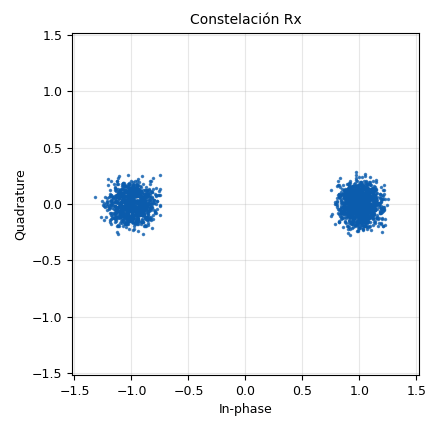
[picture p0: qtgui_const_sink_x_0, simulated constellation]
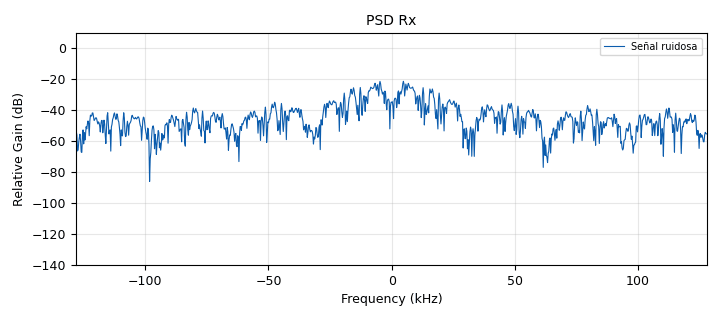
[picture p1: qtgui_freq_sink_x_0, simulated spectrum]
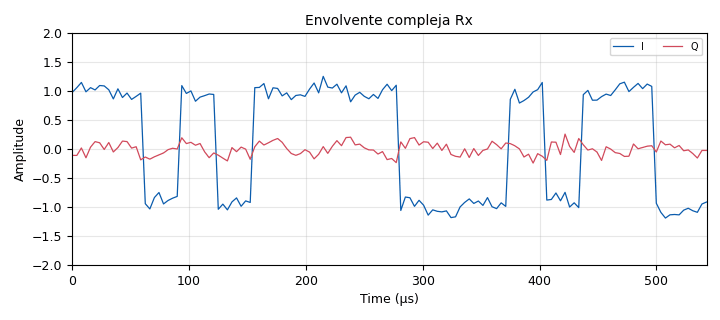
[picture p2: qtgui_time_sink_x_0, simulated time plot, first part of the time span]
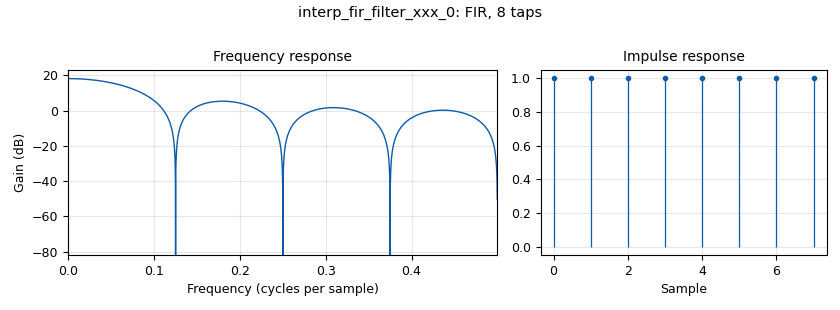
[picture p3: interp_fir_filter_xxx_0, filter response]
options:
  parameters:
    comment: GRC para analizar ruido AWGN en modulaciones basadas en constelaciones
    description: GRC con AWGN para BPSK
    generate_options: qt_gui
    id: Modulaciones_basadas_en_constelaciones_AWGN
    output_language: python
    title: Enlace_Beta_Interferencia
  states: {}

blocks:
- name: A_noise
  id: variable_qtgui_range
  parameters:
    label: Amplitud de ruido AWGN
    min_len: '100'
    start: '0'
    step: '0.05'
    stop: '0.5'
    value: '0.10'
  states: {}
- name: F_noise
  id: variable
  parameters:
    value: '15000'
  states: {}
- name: M
  id: variable
  parameters:
    value: len(tabla_de_verdad_constelacion)
  states: {}
- name: Rb
  id: variable
  parameters:
    value: Rs*bps
  states: {}
- name: Rs
  id: variable
  parameters:
    value: '32000'
  states: {}
- name: Sps
  id: variable
  parameters:
    value: '8'
  states: {}
- name: bps
  id: variable
  parameters:
    value: int(math.log(M,2))
  states: {}
- name: h
  id: variable
  parameters:
    value: '[1]*Sps'
  states: {}
- name: samp_rate
  id: variable
  parameters:
    value: Rs*Sps
  states: {}
- name: tabla_de_verdad_constelacion
  id: variable
  parameters:
    comment: Cambie esta tabla para OOK ASK BPSK QPSK 8PSK o 16QAM
    value: (-1+0j, 1+0j)
  states: {}
- name: analog_noise_source_x_0
  id: analog_noise_source_x
  parameters:
    amp: '0.1'
    noise_type: analog.GR_GAUSSIAN
    seed: '0'
    type: complex
  states: {}
- name: analog_random_source_x_0
  id: analog_random_source_x
  parameters:
    max: '2'
    min: '0'
    num_samps: '1000'
    repeat: 'True'
    type: byte
  states: {}
- name: analog_sig_source_x_0
  id: analog_sig_source_x
  parameters:
    amp: A_noise
    freq: F_noise
    offset: '0'
    phase: '0'
    samp_rate: samp_rate
    type: complex
    waveform: analog.GR_COS_WAVE
  states: {}
- name: blocks_add_xx_0
  id: blocks_add_xx
  parameters:
    type: complex
  states: {}
- name: blocks_add_xx_1
  id: blocks_add_xx
  parameters:
    type: complex
  states: {}
- name: blocks_pack_k_bits_bb_0
  id: blocks_pack_k_bits_bb
  parameters:
    k: '8'
  states: {}
- name: blocks_packed_to_unpacked_xx_0
  id: blocks_packed_to_unpacked_xx
  parameters:
    bits_per_chunk: bps
    endianness: gr.GR_MSB_FIRST
    type: byte
  states: {}
- name: digital_chunks_to_symbols_xx_0
  id: digital_chunks_to_symbols_xx
  parameters:
    dimension: '1'
    in_type: byte
    out_type: complex
    symbol_table: tabla_de_verdad_constelacion
  states: {}
- name: import_0
  id: import
  parameters:
    imports: import math
  states: {}
- name: interp_fir_filter_xxx_0
  id: interp_fir_filter_xxx
  parameters:
    interp: Sps
    taps: h
    type: ccf
  states: {}
- name: qtgui_const_sink_x_0
  id: qtgui_const_sink_x
  parameters:
    autoscale: 'True'
    grid: 'True'
    label1: '"Señal ruidosa"'
    legend: 'False'
    name: '"Constelación Rx"'
    size: '2048'
    type: complex
  states: {}
- name: qtgui_freq_sink_x_0
  id: qtgui_freq_sink_x
  parameters:
    bw: samp_rate
    fc: '0'
    fftsize: '1024'
    grid: 'True'
    label1: Señal ruidosa
    name: '"PSD Rx"'
    type: complex
  states: {}
- name: qtgui_time_sink_x_0
  id: qtgui_time_sink_x
  parameters:
    grid: 'True'
    label1: I
    label2: Q
    name: '"Envolvente compleja Rx"'
    size: '2048'
    srate: samp_rate
    type: complex
    ymax: '2'
    ymin: '-2'
  states: {}
- name: throttle_0
  id: blocks_throttle2
  parameters:
    samples_per_second: samp_rate
    type: complex
  states: {}

connections:
- [analog_noise_source_x_0, '0', blocks_add_xx_0, '1']
- [analog_random_source_x_0, '0', blocks_pack_k_bits_bb_0, '0']
- [analog_sig_source_x_0, '0', blocks_add_xx_1, '1']
- [blocks_add_xx_0, '0', blocks_add_xx_1, '0']
- [blocks_add_xx_1, '0', qtgui_const_sink_x_0, '0']
- [blocks_add_xx_1, '0', qtgui_freq_sink_x_0, '0']
- [blocks_add_xx_1, '0', qtgui_time_sink_x_0, '0']
- [blocks_pack_k_bits_bb_0, '0', blocks_packed_to_unpacked_xx_0, '0']
- [blocks_packed_to_unpacked_xx_0, '0', digital_chunks_to_symbols_xx_0, '0']
- [digital_chunks_to_symbols_xx_0, '0', interp_fir_filter_xxx_0, '0']
- [interp_fir_filter_xxx_0, '0', throttle_0, '0']
- [throttle_0, '0', blocks_add_xx_0, '0']

metadata:
  file_format: 1
  grc_version: 3.10.9.2
